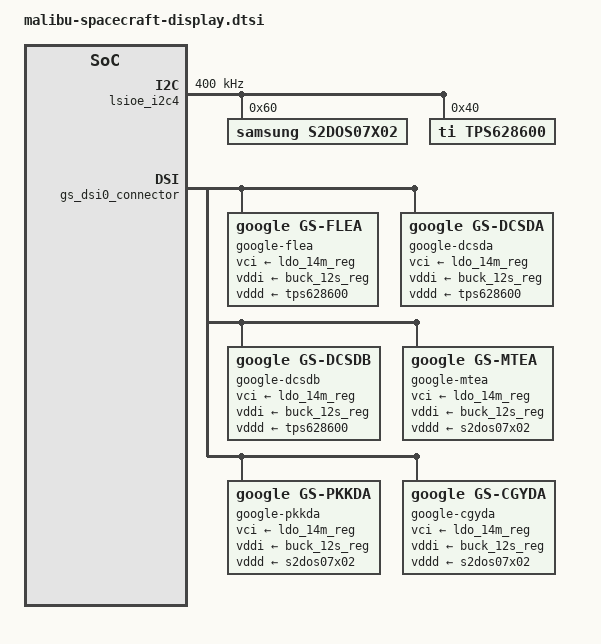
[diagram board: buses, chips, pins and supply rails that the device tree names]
// SPDX-License-Identifier: GPL-2.0-only
/*
 *
 * Copyright 2024 Google LLC
 */

#include <dt-bindings/gpio/gpio.h>


&lsioe_i2c4 {
	status = "ok";
	#address-cells = <1>;
	#size-cells = <0>;
	clock-frequency = <400000>;
	s2dos07x02: s2dos07x02@60 {
		compatible = "samsung,s2dos07x02";
		reg = <0x60>;
		status = "okay";
		regulator-name = "s2dos07x02-pmic";
	};
	tps628600: tps628600@40 {
		compatible = "ti,tps628600";
		reg = <0x40>;
		status = "okay";
		regulator-name = "tps628600-reg";
		enable-gpios = <PMICS2DISP0_BUCK_EN(GPIO_ACTIVE_HIGH)>;
	};
};

&dpu {
	pinctrl-0 = <&disp0_2_ap_te>;
	pinctrl-names = "default";
};

&gs_dsi0_connector {
	google,preferred-panel = <&google_gs_mtea>;

	google_gs_flea: panel-gs-flea {
		compatible = "google,gs-flea";
		label = "google-flea";
		channel = <0>;

		/* reset, power */
		reset-gpios = <PMICS2DISP0_RESET_L(GPIO_ACTIVE_HIGH)>;
		vci-supply = <&ldo_14m_reg>;
		vddi-supply = <&buck_12s_reg>;
		vddd-supply = <&tps628600>;
		vddd-normal-microvolt = <1000000>;
		vddd-lp-microvolt     = <962500>;
	};

	google_gs_dcsda: panel-gs-dcsda {
		compatible = "google,gs-dcsda";
		label = "google-dcsda";
		channel = <0>;
		allowed-hs-clks = <756 740>;

		/* reset, power */
		reset-gpios = <PMICS2DISP0_RESET_L(GPIO_ACTIVE_HIGH)>;
		vci-supply = <&ldo_14m_reg>;
		vddi-supply = <&buck_12s_reg>;
		vddd-supply = <&tps628600>;
		vddd-normal-microvolt = <1000000>;
		vddd-lp-microvolt     = <962500>;
	};

	google_gs_dcsdb: panel-gs-dcsdb {
		compatible = "google,gs-dcsdb";
		label = "google-dcsdb";
		channel = <0>;
		allowed-hs-clks = <756 740>;

		/* reset, power */
		reset-gpios = <PMICS2DISP0_RESET_L(GPIO_ACTIVE_HIGH)>;
		vci-supply = <&ldo_14m_reg>;
		vddi-supply = <&buck_12s_reg>;
		vddd-supply = <&tps628600>;
		vddd-normal-microvolt = <1112500>;
		vddd-lp-microvolt     = <1062500>;
	};

	google_gs_mtea: panel-gs-mtea {
		compatible = "google,gs-mtea";
		label = "google-mtea";
		channel = <0>;

		/* reset, power */
		reset-gpios = <PMICS2DISP0_RESET_L(GPIO_ACTIVE_HIGH)>;
		vci-supply = <&ldo_14m_reg>;
		vddi-supply = <&buck_12s_reg>;
		vddd-supply = <&s2dos07x02>;
		vddd-normal-microvolt = <887500>;
		vddd-lp-microvolt     = <862500>;
	};

	google_gs_pkkda: panel-gs-pkkda {
		compatible = "google,gs-pkkda";
		label = "google-pkkda";
		channel = <0>;
		allowed-hs-clks = <1368 1346>;

		/* reset, power */
		reset-gpios = <PMICS2DISP0_RESET_L(GPIO_ACTIVE_HIGH)>;
		vci-supply = <&ldo_14m_reg>;
		vddi-supply = <&buck_12s_reg>;
		vddd-supply = <&s2dos07x02>;
		vddd-normal-microvolt = <887500>;
		vddd-lp-microvolt     = <862500>;
	};

	google_gs_cgyda: panel-gs-cgyda {
		compatible = "google,gs-cgyda";
		label = "google-cgyda";
		channel = <0>;
		allowed-hs-clks = <1390 1410>;

		/* reset, power */
		reset-gpios = <PMICS2DISP0_RESET_L(GPIO_ACTIVE_HIGH)>;
		vci-supply = <&ldo_14m_reg>;
		vddi-supply = <&buck_12s_reg>;
		vddd-supply = <&s2dos07x02>;
		vddd-normal-microvolt = <887500>;
		vddd-lp-microvolt     = <862500>;
	};
};

&dsi2h0 {
	datarate = <1368>;
};
